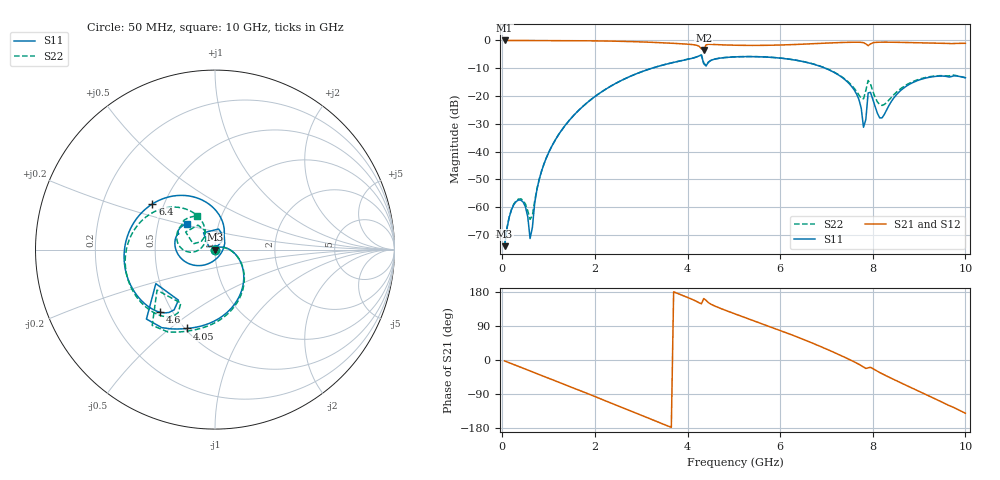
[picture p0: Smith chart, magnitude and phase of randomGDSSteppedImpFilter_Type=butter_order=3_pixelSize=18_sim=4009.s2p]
! freq	dB(S11)	phase(S11)	dB(S12)	phase(S12)
!  dB(S21)	phase(S21)	dB(S22)	phase(S22)
!S-par simulation data
#  GHz  S  DB  R 50
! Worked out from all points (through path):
!   200 points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, 50 MHz to 10 GHz, reference 50 ohm
!   highest |S21| = -0.01 dB at 50 MHz (marker M1); lowest = -3.4 dB at 4.35 GHz (marker M2)
!   group delay of S21, straight-line fit = 136 ps
!   lowest |S11| = -74.1 dB at 50 MHz (marker M3), VSWR 1.00, Z = 50 - j0.0165 ohm
!   |S11| at or under -10 dB: start of sweep to 3.232 GHz; 6.974 GHz to end of sweep
!   |S22| runs from -73.9 to -5.2 dB; largest |S21 - S12| = 0
!   S11 on the Smith chart (normalised r, x): 50 MHz: 1.00, -0.00; 4.05 GHz: 0.51, -0.57; 4.6 GHz: 0.43, -0.38; 6.4 GHz: 0.43, +0.27; 10 GHz: 0.70, +0.21
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0.05  -74.06 -56.2  -0.01 -2.4  -0.01 -2.4  -73.93 -56.2
0.15  -63.61 -70.8  -0.02 -7.2  -0.02 -7.2  -63.46 -68.9
0.35  -57.45 -90.1  -0.02 -16.8  -0.02 -16.8  -57.10 -83.7
0.5  -59.89 -100.3  -0.03 -24.0  -0.03 -24.0  -58.91 -84.5
0.6  -71.30 -43.5  -0.04 -28.7  -0.04 -28.7  -64.40 -45.3
0.75  -53.50 59.2  -0.04 -35.9  -0.04 -35.9  -53.30 41.2
0.95  -42.32 48.9  -0.05 -45.5  -0.05 -45.5  -42.32 41.5
1.75  -23.59 6.9  -0.12 -84.2  -0.12 -84.2  -23.58 5.6
3.4  -9.17 -76.9  -0.80 -165.5  -0.80 -165.5  -9.16 -74.6
4.05  -6.62 -109.6  -1.41 162.6  -1.41 162.6  -6.61 -105.8
4.35  -8.40 -150.1  -3.42 162.2  -3.42 162.2  -8.09 -145.1
4.6  -6.67 -131.2  -1.49 141.7  -1.49 141.7  -6.65 -126.5
5.05  -5.90 -152.2  -1.73 120.6  -1.73 120.6  -5.89 -146.1
6.4  -7.30 143.9  -1.41 59.2  -1.41 59.2  -7.26 156.9
6.7  -8.45 127.8  -1.19 44.4  -1.19 44.4  -8.40 143.9
7.55  -16.69 71.2  -0.64 -1.9  -0.64 -1.9  -16.27 114.5
7.8  -31.26 53.8  -0.82 -18.5  -0.82 -18.5  -21.01 150.0
7.9  -18.91 124.4  -1.87 -20.8  -1.87 -20.8  -14.39 149.0
8.15  -27.87 -17.9  -0.63 -33.1  -0.63 -33.1  -23.13 141.4
8.35  -23.39 -101.1  -0.62 -45.3  -0.62 -45.3  -21.41 178.7
9.15  -13.51 -175.0  -0.90 -91.3  -0.90 -91.3  -13.30 167.2
10  -13.43 137.3  -1.02 -140.5  -1.02 -140.5  -13.44 118.3
